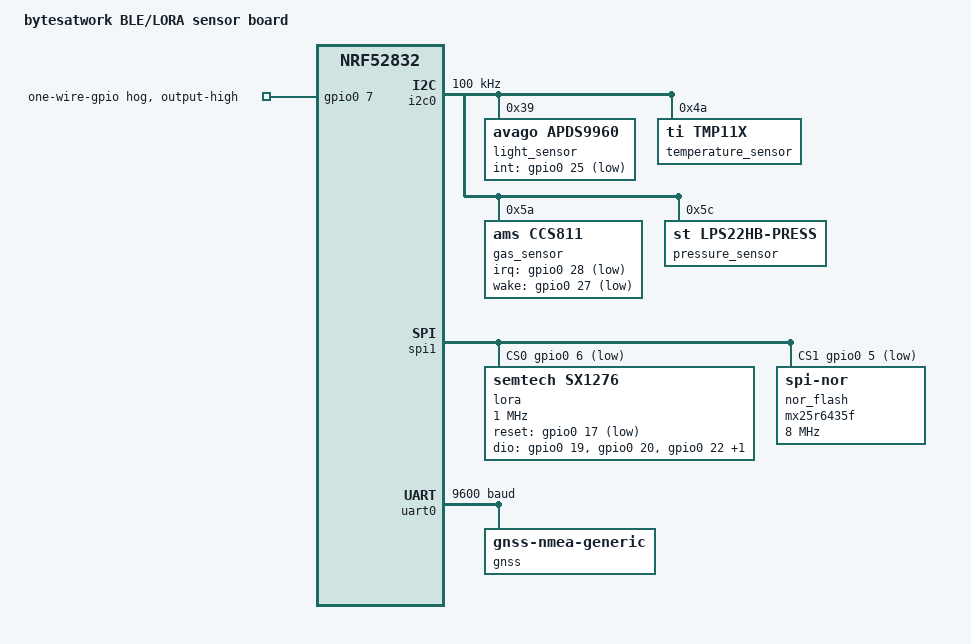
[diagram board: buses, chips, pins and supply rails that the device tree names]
/*
 * Copyrigtt (c) 2024 bytesatwork AG
 *
 * SPDX-License-Identifier: Apache-2.0
 */

/dts-v1/;

#include <nordic/nrf52832_qfaa.dtsi>
#include "bytesensi_l_pinctrl.dtsi"

#include <zephyr/dt-bindings/gpio/gpio.h>

/ {
	compatible = "bytesatwork,bytesensi-l";
	model = "bytesatwork BLE/LORA sensor board";

	chosen {
		zephyr,console = &uart0;
		zephyr,sram = &sram0;
		zephyr,flash = &flash0;
		zephyr,code-partition = &slot0_partition;
	};

	aliases {
		/* Alias for lora samples */
		lora0 = &lora;
		/* Alias for gnss samples */
		gnss = &gnss;
	};
};

&flash0 {
	partitions {
		compatible = "fixed-partitions";
		#address-cells = <1>;
		#size-cells = <1>;

		boot_partition: partition@0 {
			reg = <0x00000000 0xc000>;
			label = "mcuboot";
		};

		slot0_partition: partition@c000 {
			reg = <0x0000C000 0x32000>;
			label = "image-0";
		};

		slot1_partition: partition@3e000 {
			reg = <0x0003E000 0x32000>;
			label = "image-1";
		};

		scratch_partition: partition@70000 {
			reg = <0x00070000 0xa000>;
			label = "image-scratch";
		};

		storage_partition: partition@7a000 {
			reg = <0x0007a000 0x00005000>;
			label = "storage";
		};
	};
};

&reg {
	regulator-initial-mode = <NRF5X_REG_MODE_DCDC>;
};

&gpiote {
	status = "okay";
};

&gpio0 {
	status = "okay";

	/* Enable 1-wire to enable i2c bus as well */
	one-wire-gpio {
		gpio-hog;
		gpios = <7 GPIO_ACTIVE_HIGH>;
		output-high;
	};
};

&i2c0 {
	compatible = "nordic,nrf-twi";
	clock-frequency = <I2C_BITRATE_STANDARD>;
	pinctrl-0 = <&i2c0_default>;
	pinctrl-1 = <&i2c0_sleep>;
	pinctrl-names = "default", "sleep";
	status = "okay";

	light_sensor: apds9960@39 {
		compatible = "avago,apds9960";
		reg = <0x39>;
		int-gpios = <&gpio0 25 (GPIO_ACTIVE_LOW | GPIO_PULL_UP)>;
		status = "okay";
	};

	temperature_sensor: tmp11x@4a {
		compatible = "ti,tmp11x";
		reg = <0x4a>;
		#address-cells = <1>;
		#size-cells = <0>;
		status = "okay";

		eeprom: ti_tmp11x_eeprom@0 {
			compatible = "ti,tmp11x-eeprom";
			reg = <0x0>;
			read-only;
		};
	};

	gas_sensor: ccs811@5a {
		compatible = "ams,ccs811";
		reg = <0x5a>;
		irq-gpios = <&gpio0 28 GPIO_ACTIVE_LOW>;
		wake-gpios = <&gpio0 27 GPIO_ACTIVE_LOW>;
		status = "okay";
	};

	pressure_sensor: lps22hb-press@5c {
		compatible = "st,lps22hb-press";
		reg = <0x5c>;
		status = "okay";
	};
};

&spi1 {
	compatible = "nordic,nrf-spi";
	pinctrl-0 = <&spi1_default>;
	pinctrl-1 = <&spi1_sleep>;
	pinctrl-names = "default", "sleep";
	cs-gpios = <&gpio0 6 GPIO_ACTIVE_LOW>,
		   <&gpio0 5 GPIO_ACTIVE_LOW>;
	status = "okay";

	lora: lora@0 {
		compatible = "semtech,sx1276";
		reg = <0>;
		reset-gpios = <&gpio0 17 GPIO_ACTIVE_LOW>;
		dio-gpios = <&gpio0 19 (GPIO_PULL_DOWN | GPIO_ACTIVE_HIGH)>,
			    <&gpio0 20 (GPIO_PULL_DOWN | GPIO_ACTIVE_HIGH)>,
			    <&gpio0 22 (GPIO_PULL_DOWN | GPIO_ACTIVE_HIGH)>,
			    <&gpio0 23 (GPIO_PULL_DOWN | GPIO_ACTIVE_HIGH)>;
		spi-max-frequency = <1000000>;
		power-amplifier-output = "pa-boost";
		status = "okay";
	};

	nor_flash: mx25r6435f@1 {
		compatible = "jedec,spi-nor";
		reg = <1>;
		size = <0x4000000>;
		spi-max-frequency = <8000000>;
		jedec-id = [c2 28 17];
		status = "okay";
		status = "okay";
	};
};

&uart0 {
	current-speed = <9600>;
	pinctrl-0 = <&uart0_default>;
	pinctrl-1 = <&uart0_sleep>;
	pinctrl-names = "default", "sleep";
	status = "okay";

	gnss: u_blox_m8 {
		compatible = "gnss-nmea-generic";
		status = "okay";
	};
};
